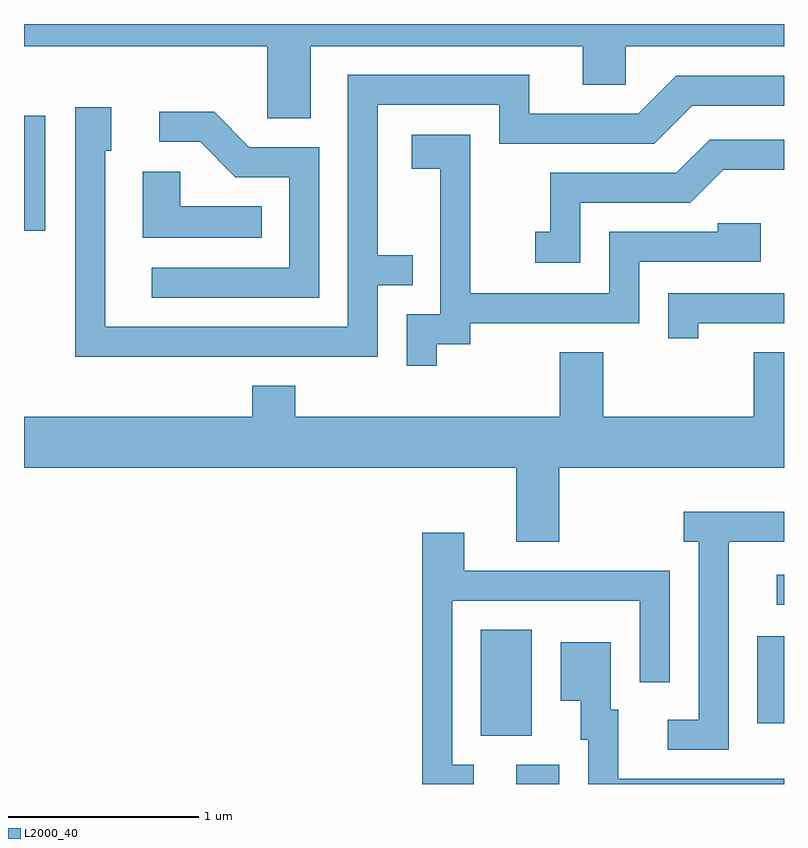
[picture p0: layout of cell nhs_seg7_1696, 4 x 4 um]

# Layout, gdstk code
import gdstk
lib = gdstk.Library(unit=1e-6, precision=1e-09)
def R(c, l, rs):  # rectangles x0, y0, x1, y1
    for r in rs: c.add(gdstk.rectangle(r[:2], r[2:], *l))
def P(c, l, *ps):  # polygons
    for p in ps: c.add(gdstk.Polygon(p, *l))
L2000_40 = (2000, 40)

nhs_seg7_1696 = lib.new_cell('nhs_seg7_1696')
R(nhs_seg7_1696, L2000_40, [(240.201,1668.252,240.429,1668.354), (240.016,1668.506,240.284,1669.064), (241.471,1668.571,241.611,1669.029), (241.573,1669.196,241.611,1669.354), (237.611,1671.163,237.724,1671.769)])
P(nhs_seg7_1696, L2000_40, [(239.119,1672.136),(240.551,1672.136),(240.551,1671.931),(240.779,1671.931),(240.779,1672.136),(241.611,1672.136),(241.611,1672.252),(237.611,1672.252),(237.611,1672.136),(238.891,1672.136),(238.891,1671.756),(239.119,1671.756)],
  [(239.474,1670.876),(239.658,1670.876),(239.658,1671.034),(239.474,1671.034),(239.474,1671.826),(240.111,1671.826),(240.111,1671.621),(240.927,1671.621),(241.127,1671.821),(241.611,1671.821),(241.611,1671.979),(241.044,1671.979),(240.844,1671.779),(240.269,1671.779),(240.269,1671.984),(239.316,1671.984),(239.316,1670.659),(238.039,1670.659),(238.039,1671.586),(238.069,1671.586),(238.069,1671.814),(237.881,1671.814),(237.881,1670.501),(239.474,1670.501)],
  [(239.164,1671.604),(238.797,1671.604),(238.612,1671.789),(238.323,1671.789),(238.323,1671.631),(238.539,1671.631),(238.724,1671.446),(239.006,1671.446),(239.006,1670.969),(238.283,1670.969),(238.283,1670.811),(239.164,1670.811)],
  [(239.784,1670.566),(239.959,1670.566),(239.959,1670.676),(240.849,1670.676),(240.849,1671.001),(241.489,1671.001),(241.489,1671.204),(241.261,1671.204),(241.261,1671.159),(240.691,1671.159),(240.691,1670.834),(239.959,1670.834),(239.959,1671.669),(239.651,1671.669),(239.651,1671.491),(239.801,1671.491),(239.801,1670.724),(239.626,1670.724),(239.626,1670.453),(239.784,1670.453)],
  [(240.539,1671.311),(241.117,1671.311),(241.292,1671.486),(241.611,1671.486),(241.611,1671.644),(241.219,1671.644),(241.044,1671.469),(240.381,1671.469),(240.381,1671.159),(240.303,1671.159),(240.303,1670.996),(240.539,1670.996)],
  [(238.863,1671.294),(238.434,1671.294),(238.434,1671.474),(238.236,1671.474),(238.236,1671.126),(238.863,1671.126)],
  [(241.159,1670.676),(241.611,1670.676),(241.611,1670.834),(241.001,1670.834),(241.001,1670.598),(241.159,1670.598)],
  [(240.429,1669.916),(241.611,1669.916),(241.611,1670.524),(241.451,1670.524),(241.451,1670.184),(240.659,1670.184),(240.659,1670.524),(240.431,1670.524),(240.431,1670.184),(239.039,1670.184),(239.039,1670.349),(238.811,1670.349),(238.811,1670.184),(237.611,1670.184),(237.611,1669.916),(240.201,1669.916),(240.201,1669.526),(240.429,1669.526)],
  [(241.319,1669.526),(241.611,1669.526),(241.611,1669.684),(241.083,1669.684),(241.083,1669.526),(241.161,1669.526),(241.161,1668.589),(240.998,1668.589),(240.998,1668.431),(241.319,1668.431)],
  [(239.978,1668.354),(239.864,1668.354),(239.864,1669.216),(240.851,1669.216),(240.851,1668.788),(241.009,1668.788),(241.009,1669.374),(239.929,1669.374),(239.929,1669.574),(239.706,1669.574),(239.706,1668.252),(239.978,1668.252)],
  [(241.611,1668.279),(240.739,1668.279),(240.739,1668.644),(240.699,1668.644),(240.699,1668.999),(240.436,1668.999),(240.436,1668.691),(240.541,1668.691),(240.541,1668.486),(240.581,1668.486),(240.581,1668.252),(241.611,1668.252)])

lib.write_gds('nhs_seg7_1696.gds')
